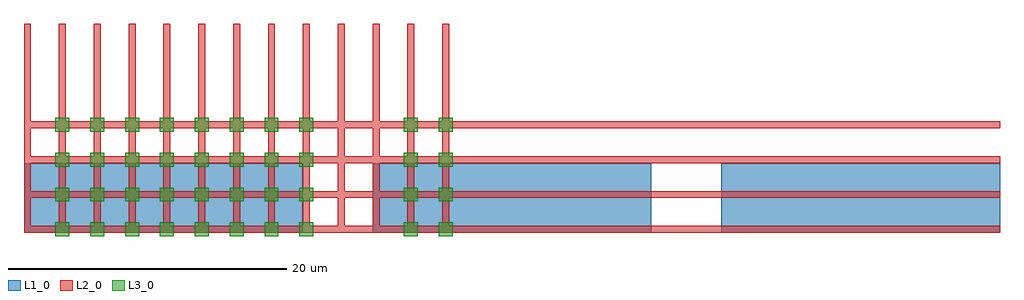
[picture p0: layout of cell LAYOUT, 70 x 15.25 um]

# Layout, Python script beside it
import gdspy

# Create the library and cell
lib = gdspy.GdsLibrary()
cell = lib.new_cell('LAYOUT')

# Function to draw a rectangle
def draw_rectangle(cell, x, y, width, height, layer):
    rect = gdspy.Rectangle((x, y), (x + width, y + height), layer=layer)
    cell.add(rect)

# Draw three rectangular active regions
active_width = 20.0
active_height = 5.0
spacing = 5.0
start_x = 0
start_y = 0
layer_active = 1
for i in range(3):
    draw_rectangle(cell, start_x + i * (active_width + spacing), start_y, active_width, active_height, layer_active)

# Create polysilicon gate pattern (grid-like structure)
poly_width = 0.5
poly_spacing = 2.5
layer_poly = 2

# Horizontal lines
for i in range(4):  # 3 lines inside + 1 at the bottom edge
    y = start_y + i * poly_spacing
    draw_rectangle(cell, start_x, y, 3 * (active_width + spacing) - spacing, poly_width, layer_poly)

# Vertical lines
for i in range(13):  # Enough to cover the width of 3 active regions plus spacing
    x = start_x + i * poly_spacing
    draw_rectangle(cell, x, start_y, poly_width, 3 * active_height, layer_poly)

# Adding contact holes at intersections (1 µm x 1 µm)
contact_size = 1.0
layer_contact = 3

# Loop through each intersection point between polysilicon and active regions
for i in range(13):
    for j in range(4):
        x_contact = start_x + i * poly_spacing - contact_size / 2 + poly_width / 2
        y_contact = start_y + j * poly_spacing - contact_size / 2 + poly_width / 2
        # Check if this contact overlaps with any active region
        if ((x_contact > start_x and x_contact < start_x + active_width) or
            (x_contact > start_x + active_width + spacing and x_contact < start_x + active_width * 2 + spacing) or
            (x_contact > start_x + (active_width + spacing) * 2 and x_contact < start_x + active_width * 3 + spacing * 2)):
            draw_rectangle(cell, x_contact, y_contact, contact_size, contact_size, layer_contact)

# Save the layout to a GDS file
lib.write_gds('layout_design.gds')

print("GDS layout design successfully created!")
